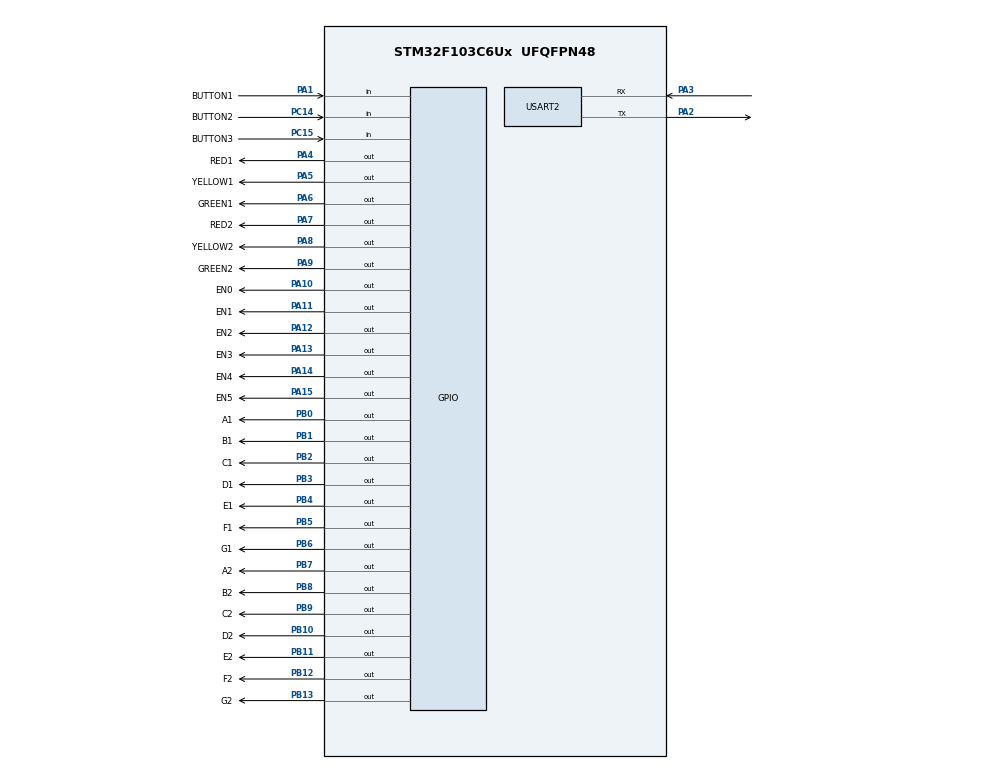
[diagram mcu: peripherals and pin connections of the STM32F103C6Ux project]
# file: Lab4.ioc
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Mcu.Family=STM32F1
Mcu.Name=STM32F103C6Ux
Mcu.Package=UFQFPN48
NVIC.PriorityGroup=NVIC_PRIORITYGROUP_4
NVIC.TIM2_IRQn=true\:0\:0\:false\:false\:true\:true\:true
NVIC.USART2_IRQn=true\:0\:0\:false\:false\:true\:true\:true
PA1.GPIO_Label=BUTTON1
PA1.GPIO_PuPd=GPIO_PULLUP
PA1.Signal=GPIO_Input
PA10.GPIO_Label=EN0
PA10.Signal=GPIO_Output
PA11.GPIO_Label=EN1
PA11.Signal=GPIO_Output
PA12.GPIO_Label=EN2
PA12.Signal=GPIO_Output
PA13.GPIO_Label=EN3
PA13.Signal=GPIO_Output
PA14.GPIO_Label=EN4
PA14.Signal=GPIO_Output
PA15.GPIO_Label=EN5
PA15.Signal=GPIO_Output
PA2.Mode=Asynchronous
PA2.Signal=USART2_TX
PA3.Mode=Asynchronous
PA3.Signal=USART2_RX
PA4.GPIO_Label=RED1
PA4.Signal=GPIO_Output
PA5.GPIO_Label=YELLOW1
PA5.Signal=GPIO_Output
PA6.GPIO_Label=GREEN1
PA6.Signal=GPIO_Output
PA7.GPIO_Label=RED2
PA7.Signal=GPIO_Output
PA8.GPIO_Label=YELLOW2
PA8.Signal=GPIO_Output
PA9.GPIO_Label=GREEN2
PA9.Signal=GPIO_Output
PB0.GPIO_Label=A1
PB0.Signal=GPIO_Output
PB1.GPIO_Label=B1
PB1.Signal=GPIO_Output
PB10.GPIO_Label=D2
PB10.Signal=GPIO_Output
PB11.GPIO_Label=E2
PB11.Signal=GPIO_Output
PB12.GPIO_Label=F2
PB12.Signal=GPIO_Output
PB13.GPIO_Label=G2
PB13.Signal=GPIO_Output
PB2.GPIO_Label=C1
PB2.Signal=GPIO_Output
PB3.GPIO_Label=D1
PB3.Signal=GPIO_Output
PB4.GPIO_Label=E1
PB4.Signal=GPIO_Output
PB5.GPIO_Label=F1
PB5.Signal=GPIO_Output
PB6.GPIO_Label=G1
PB6.Signal=GPIO_Output
PB7.GPIO_Label=A2
PB7.Signal=GPIO_Output
PB8.GPIO_Label=B2
PB8.Signal=GPIO_Output
PB9.GPIO_Label=C2
PB9.Signal=GPIO_Output
PC14-OSC32_IN.GPIO_Label=BUTTON2
PC14-OSC32_IN.GPIO_PuPd=GPIO_PULLUP
PC14-OSC32_IN.Signal=GPIO_Input
PC15-OSC32_OUT.GPIO_Label=BUTTON3
PC15-OSC32_OUT.GPIO_PuPd=GPIO_PULLUP
PC15-OSC32_OUT.Signal=GPIO_Input
ProjectManager.HeapSize=0x200
ProjectManager.StackSize=0x400
ProjectManager.TargetToolchain=STM32CubeIDE
RCC.APB1Freq_Value=8000000
RCC.APB2Freq_Value=8000000
TIM2.Period=9
TIM2.Prescaler=7999
USART2.VirtualMode=VM_ASYNC
VP_SYS_VS_ND.Mode=No_Debug
VP_TIM2_VS_ClockSourceINT.Mode=Internal
board=custom

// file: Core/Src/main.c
/* USER CODE BEGIN Header */
/**
  ******************************************************************************
  * @file           : main.c
  * @brief          : Main program body
  ******************************************************************************
  * @attention
  *
  * <h2><center>&copy; Copyright (c) 2023 STMicroelectronics.
  * All rights reserved.</center></h2>
  *
  * This software component is licensed by ST under BSD 3-Clause license,
  * the "License"; You may not use this file except in compliance with the
  * License. You may obtain a copy of the License at:
  *                        opensource.org/licenses/BSD-3-Clause
  *
  ******************************************************************************
  */
/* USER CODE END Header */
#include "main.h"

/* USER CODE BEGIN Includes */
#include <auto.h>
#include <manual.h>
#include "scheduler.h"
#include <stdio.h>
/* USER CODE END Includes */

TIM_HandleTypeDef htim2;

UART_HandleTypeDef huart2;

void SystemClock_Config(void);
static void MX_GPIO_Init(void);
static void MX_TIM2_Init(void);
static void MX_USART2_UART_Init(void);

int main(void)
{

  /* MCU Configuration--------------------------------------------------------*/

  /* Reset of all peripherals, Initializes the Flash interface and the Systick. */
  HAL_Init();

  /* Configure the system clock */
  SystemClock_Config();

  /* Initialize all configured peripherals */
  MX_GPIO_Init();
  MX_TIM2_Init();
  MX_USART2_UART_Init();
  /* USER CODE BEGIN 2 */
  HAL_TIM_Base_Start_IT (& htim2 ) ;

  /* USER CODE END 2 */

  /* Infinite loop */
  /* USER CODE BEGIN WHILE */
  SCH_Init();

	SCH_Add_Task(seg_fsm, 100, 50);
	SCH_Add_Task(RED_GREEN, 110, 100);
  setValues();
  displayFirstLedCouple(LED_INIT);
  while (1)
  {
    /* USER CODE END WHILE */

    /* USER CODE BEGIN 3 */
//	  auto_run();
//	  manual_run();
	  SCH_Dispatch_Task();
		HAL_PWR_EnterSLEEPMode(PWR_MAINREGULATOR_ON, PWR_SLEEPENTRY_WFI);
  }
  /* USER CODE END 3 */
}

void SystemClock_Config(void)
{
  RCC_OscInitTypeDef RCC_OscInitStruct = {0};
  RCC_ClkInitTypeDef RCC_ClkInitStruct = {0};

  /** Initializes the RCC Oscillators according to the specified parameters
  * in the RCC_OscInitTypeDef structure.
  */
  RCC_OscInitStruct.OscillatorType = RCC_OSCILLATORTYPE_HSI;
  RCC_OscInitStruct.HSIState = RCC_HSI_ON;
  RCC_OscInitStruct.HSICalibrationValue = RCC_HSICALIBRATION_DEFAULT;
  RCC_OscInitStruct.PLL.PLLState = RCC_PLL_NONE;
  if (HAL_RCC_OscConfig(&RCC_OscInitStruct) != HAL_OK)
  {
    Error_Handler();
  }
  /** Initializes the CPU, AHB and APB buses clocks
  */
  RCC_ClkInitStruct.ClockType = RCC_CLOCKTYPE_HCLK|RCC_CLOCKTYPE_SYSCLK
                              |RCC_CLOCKTYPE_PCLK1|RCC_CLOCKTYPE_PCLK2;
  RCC_ClkInitStruct.SYSCLKSource = RCC_SYSCLKSOURCE_HSI;
  RCC_ClkInitStruct.AHBCLKDivider = RCC_SYSCLK_DIV1;
  RCC_ClkInitStruct.APB1CLKDivider = RCC_HCLK_DIV1;
  RCC_ClkInitStruct.APB2CLKDivider = RCC_HCLK_DIV1;

  if (HAL_RCC_ClockConfig(&RCC_ClkInitStruct, FLASH_LATENCY_0) != HAL_OK)
  {
    Error_Handler();
  }
}

static void MX_TIM2_Init(void)
{

  TIM_ClockConfigTypeDef sClockSourceConfig = {0};
  TIM_MasterConfigTypeDef sMasterConfig = {0};

  htim2.Instance = TIM2;
  htim2.Init.Prescaler = 7999;
  htim2.Init.CounterMode = TIM_COUNTERMODE_UP;
  htim2.Init.Period = 10;
  htim2.Init.ClockDivision = TIM_CLOCKDIVISION_DIV1;
  htim2.Init.AutoReloadPreload = TIM_AUTORELOAD_PRELOAD_DISABLE;
  if (HAL_TIM_Base_Init(&htim2) != HAL_OK)
  {
    Error_Handler();
  }
  sClockSourceConfig.ClockSource = TIM_CLOCKSOURCE_INTERNAL;
  if (HAL_TIM_ConfigClockSource(&htim2, &sClockSourceConfig) != HAL_OK)
  {
    Error_Handler();
  }
  sMasterConfig.MasterOutputTrigger = TIM_TRGO_RESET;
  sMasterConfig.MasterSlaveMode = TIM_MASTERSLAVEMODE_DISABLE;
  if (HAL_TIMEx_MasterConfigSynchronization(&htim2, &sMasterConfig) != HAL_OK)
  {
    Error_Handler();
  }

}

static void MX_USART2_UART_Init(void)
{

  huart2.Instance = USART2;
  huart2.Init.BaudRate = 9600;
  huart2.Init.WordLength = UART_WORDLENGTH_8B;
  huart2.Init.StopBits = UART_STOPBITS_1;
  huart2.Init.Parity = UART_PARITY_NONE;
  huart2.Init.Mode = UART_MODE_TX_RX;
  huart2.Init.HwFlowCtl = UART_HWCONTROL_NONE;
  huart2.Init.OverSampling = UART_OVERSAMPLING_16;
  if (HAL_UART_Init(&huart2) != HAL_OK)
  {
    Error_Handler();
  }

}

static void MX_GPIO_Init(void)
{
  GPIO_InitTypeDef GPIO_InitStruct = {0};

  /* GPIO Ports Clock Enable */
  __HAL_RCC_GPIOC_CLK_ENABLE();
  __HAL_RCC_GPIOA_CLK_ENABLE();
  __HAL_RCC_GPIOB_CLK_ENABLE();

  /*Configure GPIO pin Output Level */
  HAL_GPIO_WritePin(GPIOA, RED1_Pin|YELLOW1_Pin|GREEN1_Pin|RED2_Pin
                          |YELLOW2_Pin|GREEN2_Pin|EN0_Pin|EN1_Pin
                          |EN2_Pin|EN3_Pin|EN4_Pin|EN5_Pin, GPIO_PIN_SET);

  /*Configure GPIO pin Output Level */
  HAL_GPIO_WritePin(GPIOB, A1_Pin|B1_Pin|C1_Pin|D2_Pin
                          |E2_Pin|F2_Pin|G2_Pin|D1_Pin
                          |E1_Pin|F1_Pin|G1_Pin|A2_Pin
                          |B2_Pin|C2_Pin, GPIO_PIN_RESET);

  /*Configure GPIO pins : BUTTON2_Pin BUTTON3_Pin */
  GPIO_InitStruct.Pin = BUTTON2_Pin|BUTTON3_Pin;
  GPIO_InitStruct.Mode = GPIO_MODE_INPUT;
  GPIO_InitStruct.Pull = GPIO_PULLUP;
  HAL_GPIO_Init(GPIOC, &GPIO_InitStruct);

  /*Configure GPIO pin : BUTTON1_Pin */
  GPIO_InitStruct.Pin = BUTTON1_Pin;
  GPIO_InitStruct.Mode = GPIO_MODE_INPUT;
  GPIO_InitStruct.Pull = GPIO_PULLUP;
  HAL_GPIO_Init(BUTTON1_GPIO_Port, &GPIO_InitStruct);

  /*Configure GPIO pins : RED1_Pin YELLOW1_Pin GREEN1_Pin RED2_Pin
                           YELLOW2_Pin GREEN2_Pin EN0_Pin EN1_Pin
                           EN2_Pin EN3_Pin EN4_Pin EN5_Pin */
  GPIO_InitStruct.Pin = RED1_Pin|YELLOW1_Pin|GREEN1_Pin|RED2_Pin
                          |YELLOW2_Pin|GREEN2_Pin|EN0_Pin|EN1_Pin
                          |EN2_Pin|EN3_Pin|EN4_Pin|EN5_Pin;
  GPIO_InitStruct.Mode = GPIO_MODE_OUTPUT_PP;
  GPIO_InitStruct.Pull = GPIO_NOPULL;
  GPIO_InitStruct.Speed = GPIO_SPEED_FREQ_LOW;
  HAL_GPIO_Init(GPIOA, &GPIO_InitStruct);

  /*Configure GPIO pins : A1_Pin B1_Pin C1_Pin D2_Pin
                           E2_Pin F2_Pin G2_Pin D1_Pin
                           E1_Pin F1_Pin G1_Pin A2_Pin
                           B2_Pin C2_Pin */
  GPIO_InitStruct.Pin = A1_Pin|B1_Pin|C1_Pin|D2_Pin
                          |E2_Pin|F2_Pin|G2_Pin|D1_Pin
                          |E1_Pin|F1_Pin|G1_Pin|A2_Pin
                          |B2_Pin|C2_Pin;
  GPIO_InitStruct.Mode = GPIO_MODE_OUTPUT_PP;
  GPIO_InitStruct.Pull = GPIO_NOPULL;
  GPIO_InitStruct.Speed = GPIO_SPEED_FREQ_LOW;
  HAL_GPIO_Init(GPIOB, &GPIO_InitStruct);

}

/* USER CODE BEGIN 4 */
void HAL_TIM_PeriodElapsedCallback( TIM_HandleTypeDef * htim ) {
	update_time();
	SCH_Update();
	getKeyInput();
}
/* USER CODE END 4 */

void Error_Handler(void)
{
  __disable_irq();
  while (1)
  {
  }
}

/************************ (C) COPYRIGHT STMicroelectronics *****END OF FILE****/
